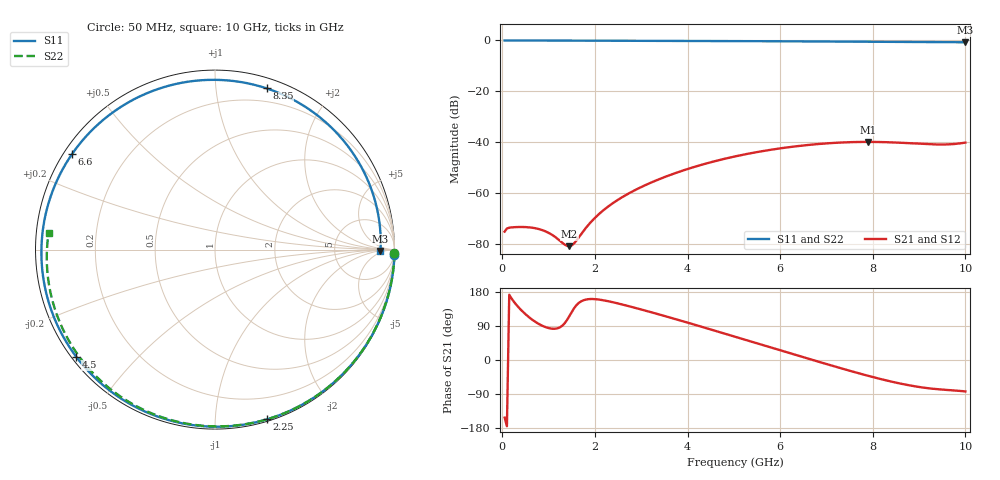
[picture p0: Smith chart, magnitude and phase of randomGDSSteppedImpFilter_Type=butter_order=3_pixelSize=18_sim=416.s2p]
! freq	dB(S11)	phase(S11)	dB(S12)	phase(S12)
!  dB(S21)	phase(S21)	dB(S22)	phase(S22)
!S-par simulation data
#  GHz  S  DB  R 50
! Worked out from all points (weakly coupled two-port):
!   200 points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, 50 MHz to 10 GHz, reference 50 ohm
!   highest |S21| = -39.77 dB at 7.9 GHz (marker M1); lowest = -80.7 dB at 1.45 GHz (marker M2)
!   lowest |S11| = -0.7 dB at 10 GHz (marker M3), VSWR 24.66, Z = 1.22e+03 - j135 ohm
!   |S11| at or under -10 dB: nowhere
!   |S22| runs from -0.6 to 0.0 dB; largest |S21 - S12| = 0
!   S11 on the Smith chart (normalised r, x): 50 MHz: 0, -69; 2.25 GHz: 0.02, -1.35; 4.5 GHz: 0.01, -0.34; 6.6 GHz: 0.02, +0.30; 8.35 GHz: 0.08, +1.37; 10 GHz: 24, -3
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0.05  -0.00 -1.7  -74.96 -152.1  -74.96 -152.1  -0.00 -1.0
0.2  -0.00 -6.7  -73.30 162.3  -73.30 162.3  -0.00 -4.1
0.7  -0.02 -23.2  -73.58 101.8  -73.58 101.8  -0.01 -14.3
1  -0.04 -33.0  -75.43 84.3  -75.43 84.3  -0.02 -20.4
1.35  -0.06 -44.3  -80.07 97.4  -80.07 97.4  -0.03 -27.4
1.45  -0.06 -47.6  -80.66 116.2  -80.66 116.2  -0.04 -29.4
1.55  -0.06 -50.8  -79.55 136.5  -79.55 136.5  -0.04 -31.4
1.75  -0.07 -57.1  -74.78 157.5  -74.78 157.5  -0.04 -35.4
2.25  -0.09 -72.9  -65.61 156.1  -65.61 156.1  -0.06 -45.2
2.8  -0.12 -90.0  -59.30 139.9  -59.30 139.9  -0.07 -55.8
3.4  -0.14 -108.4  -54.31 119.8  -54.31 119.8  -0.09 -67.1
4.5  -0.20 -142.2  -47.77 80.6  -47.77 80.6  -0.13 -87.1
5.05  -0.24 -159.7  -45.37 60.4  -45.37 60.4  -0.15 -96.8
5.85  -0.31 173.5  -42.71 31.0  -42.71 31.0  -0.19 -110.7
6.6  -0.37 146.2  -40.99 3.7  -40.99 3.7  -0.24 -123.6
6.7  -0.38 142.3  -40.81 0.1  -40.81 0.1  -0.25 -125.3
7.35  -0.44 116.1  -39.99 -23.1  -39.99 -23.1  -0.30 -136.5
7.9  -0.48 92.4  -39.77 -41.8  -39.77 -41.8  -0.35 -146.1
8.35  -0.51 72.3  -39.92 -55.6  -39.92 -55.6  -0.40 -154.1
8.75  -0.53 54.1  -40.25 -66.0  -40.25 -66.0  -0.44 -161.3
9.25  -0.57 31.6  -40.72 -75.2  -40.72 -75.2  -0.51 -170.7
10  -0.70 -0.5  -40.05 -83.0  -40.05 -83.0  -0.61 174.3
